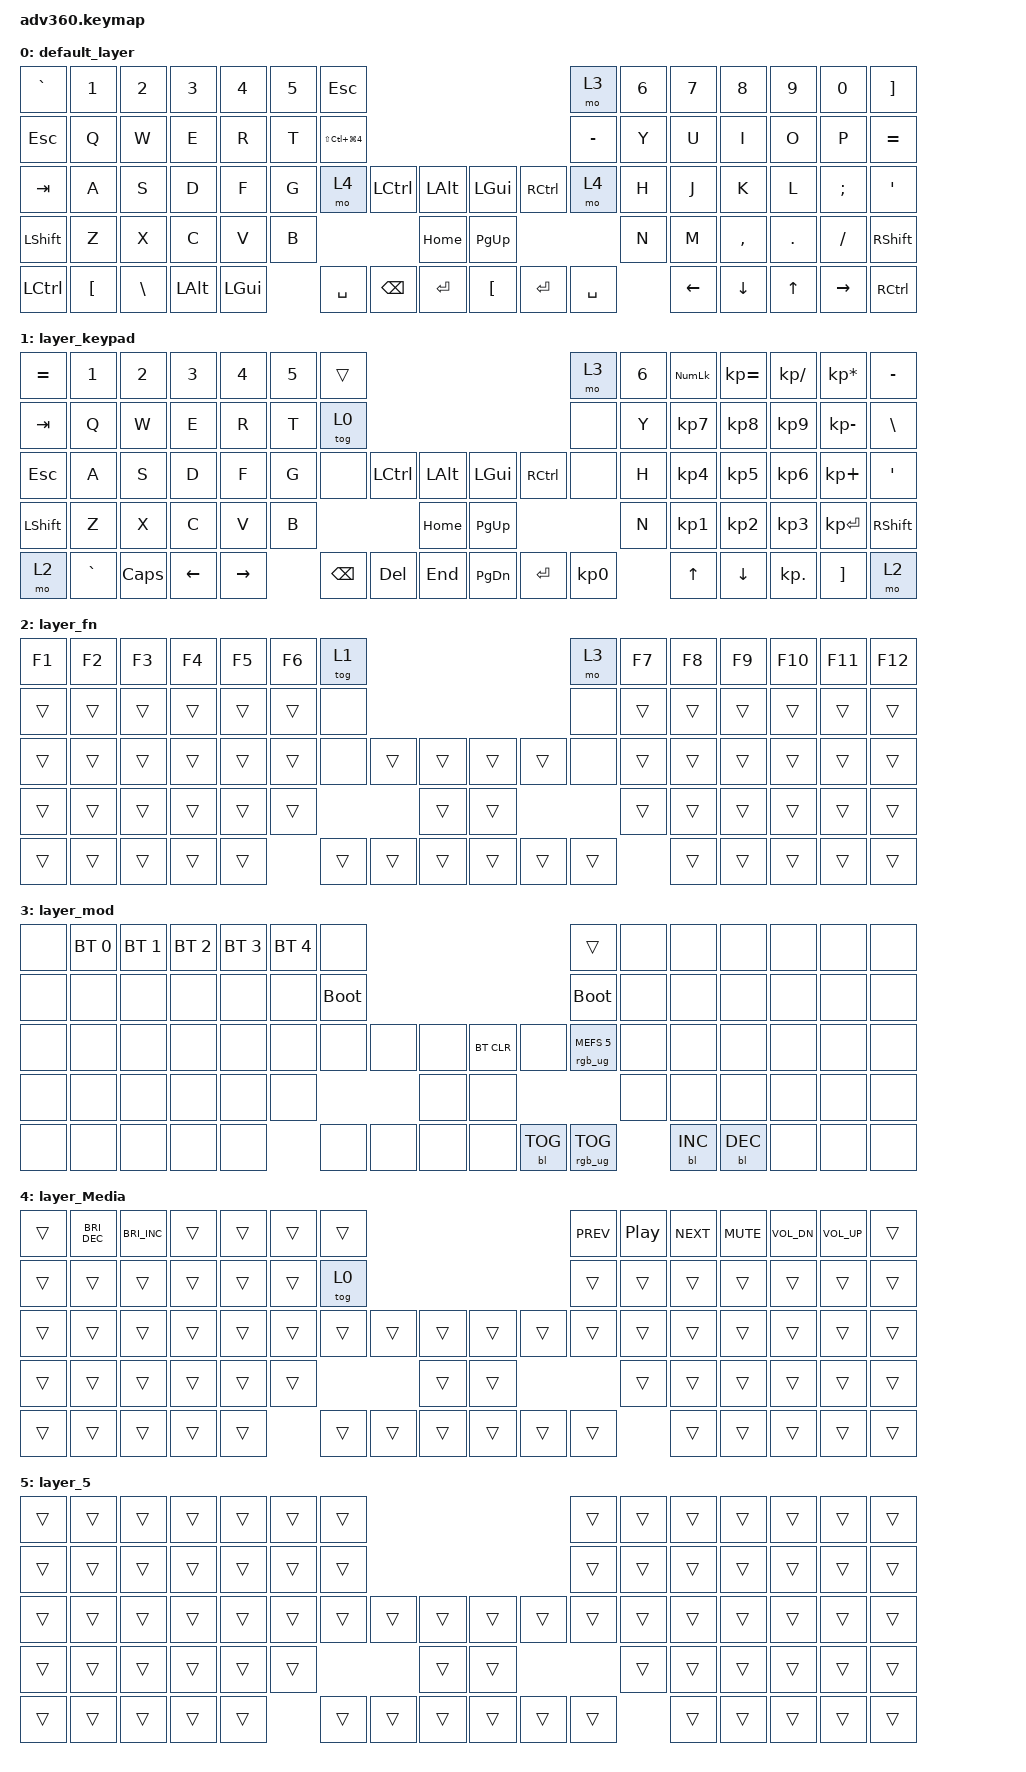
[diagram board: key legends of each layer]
/*
 * Copyright (c) 2020 The ZMK Contributors
 *
 * SPDX-License-Identifier: MIT
 */
/* THIS FILE WAS GENERATED!
 *
 * This file was generated automatically. You may or may not want to
 * edit it directly.
 */

#include <dt-bindings/zmk/stp.h>
#include <behaviors.dtsi>
#include <dt-bindings/zmk/backlight.h>
#include <dt-bindings/zmk/bt.h>
#include <dt-bindings/zmk/keys.h>
#include <dt-bindings/zmk/rgb.h>

/ {
    behaviors {
        #include "macros.dtsi"
    #include "version.dtsi"

        hm: homerow_mods {
            compatible = "zmk,behavior-hold-tap";
            label = "HOMEROW_MODS";
            #binding-cells = <2>;
            tapping-term-ms = <200>;
            quick_tap_ms = <175>;
            flavor = "tap-preferred";
            bindings = <&kp>, <&kp>;
        };
    };

    keymap {
        compatible = "zmk,keymap";

        default_layer {
            bindings = <
&kp GRAVE  &kp N1    &kp N2    &kp N3    &kp N4    &kp N5  &kp ESC                                                                       &mo 3      &kp N6  &kp N7    &kp N8     &kp N9   &kp N0     &kp RBKT
&kp ESC    &kp Q     &kp W     &kp E     &kp R     &kp T   &kp LS(LC(LG(NUMBER_4)))                                                      &kp MINUS  &kp Y   &kp U     &kp I      &kp O    &kp P      &kp EQUAL
&kp TAB    &kp A     &kp S     &kp D     &kp F     &kp G   &mo 4                     &kp LCTRL      &kp LALT       &kp LGUI   &kp RCTRL  &mo 4      &kp H   &kp J     &kp K      &kp L    &kp SEMI   &kp SQT
&kp LSHFT  &kp Z     &kp X     &kp C     &kp V     &kp B                                            &kp HOME       &kp PG_UP                        &kp N   &kp M     &kp COMMA  &kp DOT  &kp FSLH   &kp RSHFT
&kp LCTRL  &kp LBKT  &kp BSLH  &kp LALT  &kp LGUI          &kp SPACE                 &kp BACKSPACE  &kp ENTER      &kp LBKT   &kp ENTER  &kp SPACE          &kp LEFT  &kp DOWN   &kp UP   &kp RIGHT  &kp RCTRL
            >;
        };

        layer_keypad {
            bindings = <
&kp EQUAL  &kp N1     &kp N2    &kp N3    &kp N4     &kp N5  &trans                                                   &mo 3      &kp N6  &kp KP_NUM  &kp KP_EQUAL  &kp KP_DIVIDE  &kp KP_MULTIPLY  &kp MINUS
&kp TAB    &kp Q      &kp W     &kp E     &kp R      &kp T   &tog 0                                                   &none      &kp Y   &kp KP_N7   &kp KP_N8     &kp KP_N9      &kp KP_MINUS     &kp BSLH
&kp ESC    &kp A      &kp S     &kp D     &kp F      &kp G   &none     &kp LCTRL  &kp LALT      &kp LGUI   &kp RCTRL  &none      &kp H   &kp KP_N4   &kp KP_N5     &kp KP_N6      &kp KP_PLUS      &kp SQT
&kp LSHFT  &kp Z      &kp X     &kp C     &kp V      &kp B                        &kp HOME      &kp PG_UP                        &kp N   &kp KP_N1   &kp KP_N2     &kp KP_N3      &kp KP_ENTER     &kp RSHFT
&mo 2      &kp GRAVE  &kp CAPS  &kp LEFT  &kp RIGHT          &kp BSPC  &kp DEL    &kp END       &kp PG_DN  &kp ENTER  &kp KP_N0          &kp UP      &kp DOWN      &kp KP_DOT     &kp RBKT         &mo 2
            >;
        };

        layer_fn {
            bindings = <
&kp F1  &kp F2  &kp F3  &kp F4  &kp F5  &kp F6  &tog 1                                      &mo 3   &kp F7  &kp F8  &kp F9  &kp F10  &kp F11  &kp F12
&trans  &trans  &trans  &trans  &trans  &trans  &none                                       &none   &trans  &trans  &trans  &trans   &trans   &trans
&trans  &trans  &trans  &trans  &trans  &trans  &none   &trans  &trans      &trans  &trans  &none   &trans  &trans  &trans  &trans   &trans   &trans
&trans  &trans  &trans  &trans  &trans  &trans                  &trans      &trans                  &trans  &trans  &trans  &trans   &trans   &trans
&trans  &trans  &trans  &trans  &trans          &trans  &trans  &trans      &trans  &trans  &trans          &trans  &trans  &trans   &trans   &trans
            >;
        };

        layer_mod {
            bindings = <
&none  &bt BT_SEL 0  &bt BT_SEL 1  &bt BT_SEL 2  &bt BT_SEL 3  &bt BT_SEL 4  &none                                                  &trans                  &none  &none       &none       &none  &none  &none
&none  &none         &none         &none         &none         &none         &bootloader                                            &bootloader             &none  &none       &none       &none  &none  &none
&none  &none         &none         &none         &none         &none         &none        &none  &none      &bt BT_CLR  &none       &rgb_ug RGB_MEFS_CMD 5  &none  &none       &none       &none  &none  &none
&none  &none         &none         &none         &none         &none                             &none      &none                                           &none  &none       &none       &none  &none  &none
&none  &none         &none         &none         &none                       &none        &none  &none      &none       &bl BL_TOG  &rgb_ug RGB_TOG                &bl BL_INC  &bl BL_DEC  &none  &none  &none
            >;
        };

        layer_Media {
            bindings = <
&trans  &kp C_BRIGHTNESS_DEC  &kp C_BRIGHTNESS_INC  &trans  &trans  &trans  &trans                                      &kp C_PREV  &kp C_PLAY_PAUSE  &kp C_NEXT  &kp C_MUTE  &kp C_VOL_DN  &kp C_VOLUME_UP  &trans
&trans  &trans                &trans                &trans  &trans  &trans  &tog 0                                      &trans      &trans            &trans      &trans      &trans        &trans           &trans
&trans  &trans                &trans                &trans  &trans  &trans  &trans  &trans  &trans      &trans  &trans  &trans      &trans            &trans      &trans      &trans        &trans           &trans
&trans  &trans                &trans                &trans  &trans  &trans                  &trans      &trans                      &trans            &trans      &trans      &trans        &trans           &trans
&trans  &trans                &trans                &trans  &trans          &trans  &trans  &trans      &trans  &trans  &trans                        &trans      &trans      &trans        &trans           &trans
            >;
        };

        layer_5 {
            bindings = <
&trans  &trans  &trans  &trans  &trans  &trans  &trans                                      &trans  &trans  &trans  &trans  &trans  &trans  &trans
&trans  &trans  &trans  &trans  &trans  &trans  &trans                                      &trans  &trans  &trans  &trans  &trans  &trans  &trans
&trans  &trans  &trans  &trans  &trans  &trans  &trans  &trans  &trans      &trans  &trans  &trans  &trans  &trans  &trans  &trans  &trans  &trans
&trans  &trans  &trans  &trans  &trans  &trans                  &trans      &trans                  &trans  &trans  &trans  &trans  &trans  &trans
&trans  &trans  &trans  &trans  &trans          &trans  &trans  &trans      &trans  &trans  &trans          &trans  &trans  &trans  &trans  &trans
            >;
        };
    };
};
